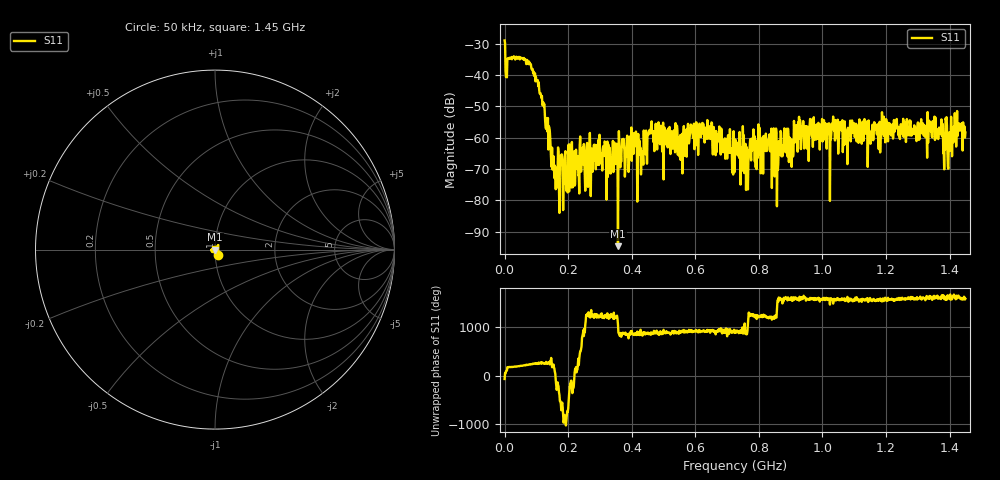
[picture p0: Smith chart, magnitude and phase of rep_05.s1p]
! Created with skrf 1.11.0 (http://scikit-rf.org).
# Hz S RI R 50.0
!freq ReS11 ImS11
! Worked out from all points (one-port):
!   1001 points, 50 kHz to 1.45 GHz, reference 50 ohm
!   lowest |S11| = -94.6 dB at 356.7 MHz (marker M1), VSWR 1.00, Z = 50 - j0.0005 ohm
!   |S11| at or under -10 dB: start of sweep to end of sweep
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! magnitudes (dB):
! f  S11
! 50 kHz  -29.0
! 84.15 MHz  -37.8
! 118.9 MHz  -49.6
! 158.1 MHz  -68.9
! 181.3 MHz  -67.6
! 227.7 MHz  -68.4
! 262.5 MHz  -75.7
! 356.7 MHz  -94.6
! 362.5 MHz  -65.5
! 408.9 MHz  -60.3
! 429.2 MHz  -71.7
! 459.7 MHz  -58.2
! 543.8 MHz  -57.7
! 619.2 MHz  -57.0
! 725 MHz  -64.3
! 761.3 MHz  -62.9
! 778.7 MHz  -64.2
! 832.3 MHz  -59.8
! 855.5 MHz  -58.4
! 906.3 MHz  -61.8
! 965.7 MHz  -58.6
! 1.021 GHz  -55.4
! 1.088 GHz  -54.6
! 1.269 GHz  -56.6
! 1.346 GHz  -59.9
! 1.401 GHz  -64.2
! 1.424 GHz  -51.5
! 1.45 GHz  -58.3
